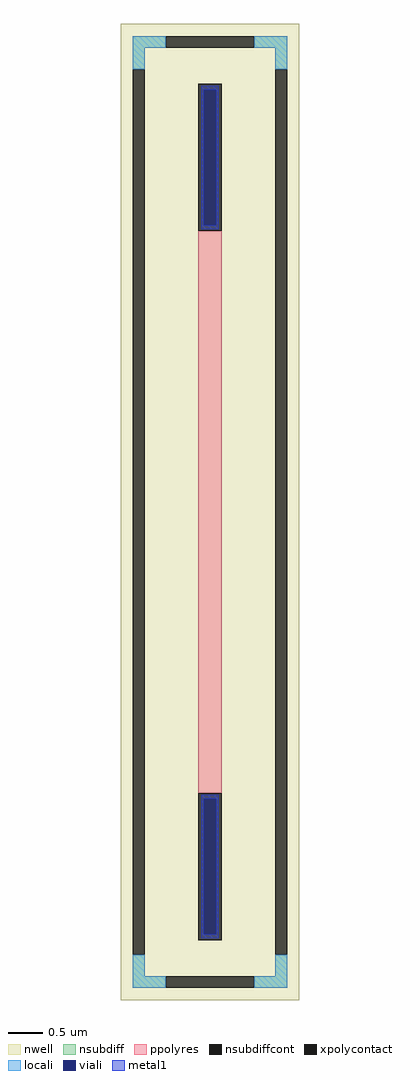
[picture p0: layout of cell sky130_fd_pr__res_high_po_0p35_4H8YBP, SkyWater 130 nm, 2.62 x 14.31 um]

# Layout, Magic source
magic
tech sky130A
magscale 1 2
<< nwell >>
rect -262 -1431 262 1431
<< nsubdiff >>
rect -226 1361 -130 1395
rect 130 1361 226 1395
rect -226 1299 -192 1361
rect 192 1299 226 1361
rect -226 -1361 -192 -1299
rect 192 -1361 226 -1299
rect -226 -1395 -130 -1361
rect 130 -1395 226 -1361
<< nsubdiffcont >>
rect -130 1361 130 1395
rect -226 -1299 -192 1299
rect 192 -1299 226 1299
rect -130 -1395 130 -1361
<< xpolycontact >>
rect -35 824 35 1256
rect -35 -1256 35 -824
<< ppolyres >>
rect -35 -824 35 824
<< locali >>
rect -226 1361 -130 1395
rect 130 1361 226 1395
rect -226 1299 -192 1361
rect 192 1299 226 1361
rect -226 -1361 -192 -1299
rect 192 -1361 226 -1299
rect -226 -1395 -130 -1361
rect 130 -1395 226 -1361
<< viali >>
rect -19 841 19 1238
rect -19 -1238 19 -841
<< metal1 >>
rect -25 1238 25 1250
rect -25 841 -19 1238
rect 19 841 25 1238
rect -25 829 25 841
rect -25 -841 25 -829
rect -25 -1238 -19 -841
rect 19 -1238 25 -841
rect -25 -1250 25 -1238
<< properties >>
string FIXED_BBOX -209 -1378 209 1378
string gencell sky130_fd_pr__res_high_po_0p35
string library sky130
string parameters w 0.350 l 8.4 m 1 nx 1 wmin 0.350 lmin 0.50 rho 319.8 val 8.788k dummy 0 dw 0.0 term 194.82 sterm 0.0 caplen 0 guard 1 glc 1 grc 1 gtc 1 gbc 1 compatible {sky130_fd_pr__res_high_po_0p35  sky130_fd_pr__res_high_po_0p69 sky130_fd_pr__res_high_po_1p41  sky130_fd_pr__res_high_po_2p85 sky130_fd_pr__res_high_po_5p73} snake 0 full_metal 1 wmax 0.350 vias 1 n_guard 1 hv_guard 0 viagb 0 viagt 0 viagl 0 viagr 0
<< end >>
